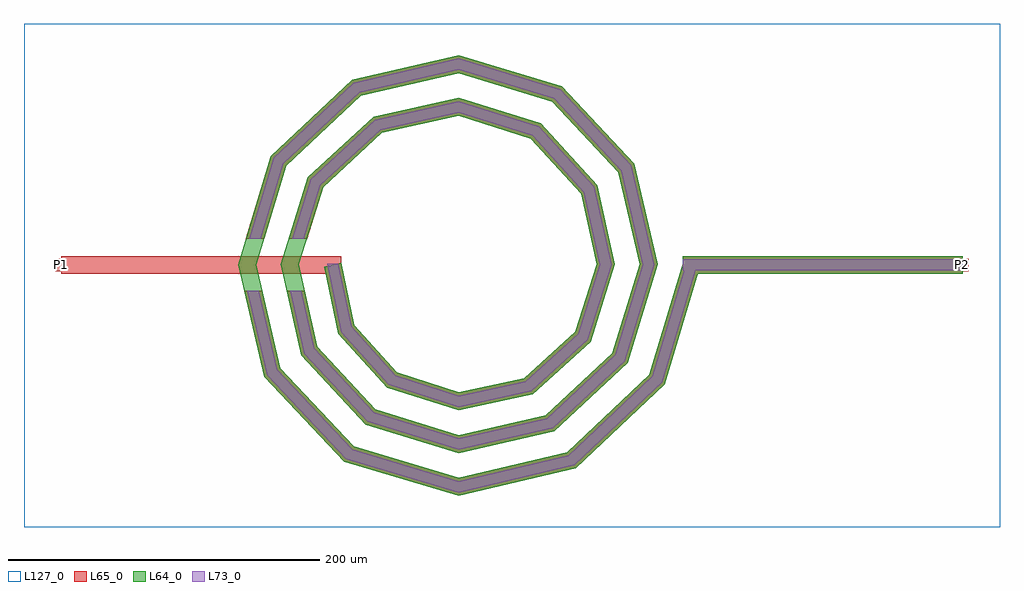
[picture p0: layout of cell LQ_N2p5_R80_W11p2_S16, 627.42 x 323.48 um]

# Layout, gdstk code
import gdstk
lib = gdstk.Library(unit=1e-6, precision=1e-09)
def R(c, l, rs):  # rectangles x0, y0, x1, y1
    for r in rs: c.add(gdstk.rectangle(r[:2], r[2:], *l))
def P(c, l, *ps):  # polygons
    for p in ps: c.add(gdstk.Polygon(p, *l))
L64_0 = (64, 0)
L65_0 = (65, 0)
L73_0 = (73, 0)
L127_0 = (127, 0)

lq_n2p5_r80_w11p2_s16 = lib.new_cell('LQ_N2p5_R80_W11p2_S16')
R(lq_n2p5_r80_w11p2_s16, L64_0, [(144.1,-5.6,324.1,5.6)])
P(lq_n2p5_r80_w11p2_s16, L64_0, [(-66.899,-38.968),(-39.605,-69.178),(0.282,-82.005),(42.387,-72.866),(75.123,-43.063),(88.882,0.262),(78.832,45.809),(46.517,81.07),(0.244,95.76),(-49.233,84.796),(-87.018,49.97),(-102.637,0.229),(-90.76,-52.659),(-53.421,-92.967),(0.215,-109.515),(56.086,-96.723),(98.917,-56.871),(116.393,0.203),(102.685,59.515),(60.32,104.868),(0.192,123.27),(-62.945,108.646),(-110.819,63.767),(-130.148,0.182),(-114.608,-66.376),(-67.214,-116.771),(0.174,-137.026),(69.807,-120.568),(122.723,-70.66),(144.334,1.605),(155.065,-1.605),(132.593,-76.747),(75.307,-130.777),(0.174,-148.617),(-73.315,-126.632),(-124.824,-71.86),(-141.738,0.182),(-120.671,69.884),(-68.413,118.872),(0.192,134.86),(66.453,114.709),(112.921,64.965),(127.982,0.203),(108.746,-63.024),(61.515,-106.97),(0.215,-121.103),(-59.595,-102.783),(-101.019,-58.065),(-114.225,0.229),(-96.819,56.168),(-54.613,95.07),(0.244,107.346),(52.743,90.854),(89.121,51.159),(100.467,0.262),(84.887,-49.32),(47.702,-83.173),(0.282,-93.588),(-45.899,-78.919),(-77.227,-44.243),(-86.396,-1.166),(-75.441,1.166)])
R(lq_n2p5_r80_w11p2_s16, L65_0, [(-255.319,-5.6,-75.319,5.6), (144.1,-5.6,324.1,5.6), (-259.319,-4,-251.319,4), (320.1,-4,328.1,4)])
P(lq_n2p5_r80_w11p2_s16, L65_0, [(-114.608,-66.376),(-67.214,-116.771),(0.174,-137.026),(69.807,-120.568),(122.723,-70.66),(144.334,1.605),(155.065,-1.605),(132.593,-76.747),(75.307,-130.777),(0.174,-148.617),(-73.315,-126.632),(-124.824,-71.86),(-137.751,-16.8),(-126.247,-16.8)],
  [(-90.76,-52.659),(-53.421,-92.967),(0.215,-109.515),(56.086,-96.723),(98.917,-56.871),(116.393,0.203),(102.685,59.515),(60.32,104.868),(0.192,123.271),(-62.945,108.647),(-110.819,63.767),(-125.015,16.8),(-136.716,16.8),(-120.671,69.884),(-68.413,118.872),(0.192,134.86),(66.453,114.709),(112.921,64.965),(127.982,0.203),(108.746,-63.024),(61.516,-106.97),(0.215,-121.103),(-59.595,-102.783),(-101.019,-58.065),(-110.367,-16.8),(-98.883,-16.8)],
  [(-39.605,-69.178),(0.282,-82.005),(42.387,-72.866),(75.123,-43.063),(88.882,0.262),(78.832,45.809),(46.517,81.07),(0.244,95.76),(-49.233,84.797),(-87.018,49.97),(-97.339,16.8),(-109.069,16.8),(-96.819,56.168),(-54.613,95.07),(0.244,107.346),(52.743,90.854),(89.121,51.159),(100.467,0.262),(84.887,-49.32),(47.703,-83.173),(0.282,-93.588),(-45.899,-78.919),(-77.227,-44.243),(-86.396,-1.166),(-75.441,1.166),(-66.899,-38.968)])
R(lq_n2p5_r80_w11p2_s16, L73_0, [(144.1,-3.6,324.1,3.6)])
P(lq_n2p5_r80_w11p2_s16, L73_0, [(-116.432,-67.355),(-68.303,-118.532),(0.112,-139.096),(70.789,-122.391),(124.486,-71.747),(146.251,1.032),(153.149,-1.032),(130.831,-75.66),(74.325,-128.954),(0.112,-146.547),(-72.225,-124.871),(-123,-70.881),(-135.697,-16.8),(-128.301,-16.8)],
  [(-92.592,-53.624),(-54.524,-94.72),(0.138,-111.584),(57.056,-98.553),(100.672,-57.97),(118.462,0.13),(104.513,60.488),(61.415,106.625),(0.124,125.34),(-63.921,110.473),(-112.578,64.859),(-127.105,16.8),(-134.626,16.8),(-118.912,68.791),(-67.437,117.046),(0.124,132.791),(65.358,112.952),(111.093,63.992),(125.912,0.13),(106.991,-61.925),(60.546,-105.14),(0.138,-119.034),(-58.493,-101.03),(-99.187,-57.1),(-108.317,-16.8),(-100.934,-16.8)],
  [(-40.729,-70.918),(0.182,-84.074),(43.336,-74.707),(76.867,-44.18),(90.951,0.168),(80.669,46.764),(47.629,82.817),(0.157,97.829),(-50.194,86.631),(-88.768,51.077),(-99.434,16.8),(-106.974,16.8),(-95.069,55.061),(-53.652,93.235),(0.157,105.277),(51.631,89.107),(87.284,50.203),(98.399,0.168),(83.144,-48.202),(46.753,-81.333),(0.182,-91.52),(-44.775,-77.18),(-75.383,-43.301),(-84.44,0.749),(-77.398,0.749),(-68.743,-39.91)])
R(lq_n2p5_r80_w11p2_s16, L127_0, [(-279.319,-168.617,348.1,154.86)])
lq_n2p5_r80_w11p2_s16.add(gdstk.Label('P2', (324.1,0), layer=65, texttype=0))
lq_n2p5_r80_w11p2_s16.add(gdstk.Label('P1', (-255.319,0), layer=65, texttype=0))
lq_n2p5_r80_w11p2_s16.add(gdstk.Label('P2', (328.1,0), layer=145, texttype=0))
lq_n2p5_r80_w11p2_s16.add(gdstk.Label('P1', (-259.319,0), layer=145, texttype=0))

lib.write_gds('LQ_N2p5_R80_W11p2_S16.gds')
